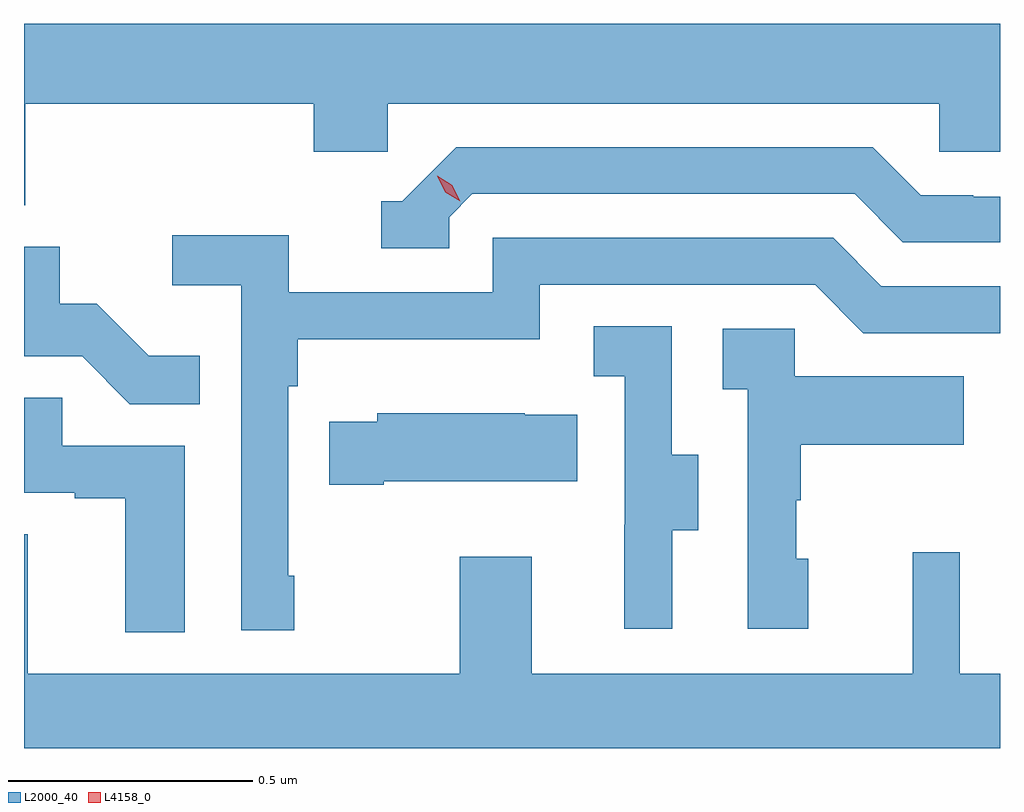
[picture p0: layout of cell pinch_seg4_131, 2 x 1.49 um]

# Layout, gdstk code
import gdstk
lib = gdstk.Library(unit=1e-6, precision=1e-09)
def P(c, l, *ps):  # polygons
    for p in ps: c.add(gdstk.Polygon(p, *l))
L2000_40 = (2000, 40)
L4158_0 = (4158, 0)

pinch_seg4_131 = lib.new_cell('pinch_seg4_131')
P(pinch_seg4_131, L2000_40, [(1046.276,791.492),(1046.867,791.492),(1046.867,791.394),(1047.018,791.394),(1047.018,791.492),(1048.149,791.492),(1048.149,791.394),(1048.273,791.394),(1048.273,791.656),(1046.273,791.656),(1046.273,791.284),(1046.276,791.284)],
  [(1047.144,791.259),(1047.192,791.307),(1047.975,791.307),(1048.074,791.208),(1048.273,791.208),(1048.273,791.301),(1048.218,791.301),(1048.218,791.304),(1048.111,791.304),(1048.012,791.403),(1047.159,791.403),(1047.048,791.292),(1047.005,791.292),(1047.005,791.196),(1047.144,791.196)],
  [(1046.827,790.525),(1046.814,790.525),(1046.814,790.913),(1046.834,790.913),(1046.834,791.009),(1047.33,791.009),(1047.33,791.121),(1047.894,791.121),(1047.993,791.022),(1048.273,791.022),(1048.273,791.118),(1048.03,791.118),(1047.931,791.217),(1047.234,791.217),(1047.234,791.106),(1046.816,791.106),(1046.816,791.222),(1046.577,791.222),(1046.577,791.12),(1046.718,791.12),(1046.718,790.413),(1046.827,790.413)],
  [(1046.633,790.975),(1046.529,790.975),(1046.422,791.082),(1046.346,791.082),(1046.346,791.199),(1046.273,791.199),(1046.273,790.974),(1046.392,790.974),(1046.49,790.876),(1046.633,790.876)],
  [(1047.601,790.618),(1047.655,790.618),(1047.655,790.773),(1047.6,790.773),(1047.6,791.036),(1047.441,791.036),(1047.441,790.933),(1047.504,790.933),(1047.504,790.629),(1047.503,790.629),(1047.503,790.416),(1047.601,790.416)],
  [(1047.88,790.56),(1047.855,790.56),(1047.855,790.679),(1047.865,790.679),(1047.865,790.793),(1048.199,790.793),(1048.199,790.933),(1047.852,790.933),(1047.852,791.031),(1047.705,791.031),(1047.705,790.907),(1047.756,790.907),(1047.756,790.416),(1047.88,790.416)],
  [(1046.602,790.791),(1046.351,790.791),(1046.351,790.889),(1046.273,790.889),(1046.273,790.695),(1046.377,790.695),(1046.377,790.683),(1046.48,790.683),(1046.48,790.409),(1046.602,790.409)],
  [(1047.01,790.718),(1047.407,790.718),(1047.407,790.855),(1047.299,790.855),(1047.299,790.858),(1046.997,790.858),(1046.997,790.84),(1046.899,790.84),(1046.899,790.711),(1047.01,790.711)],
  [(1048.273,790.324),(1048.191,790.324),(1048.191,790.573),(1048.094,790.573),(1048.094,790.324),(1047.313,790.324),(1047.313,790.564),(1047.166,790.564),(1047.166,790.324),(1046.281,790.324),(1046.281,790.61),(1046.273,790.61),(1046.273,790.171),(1048.273,790.171)])
P(pinch_seg4_131, L4158_0, [(1047.167,791.292),(1047.136,791.311),(1047.12,791.344),(1047.12,791.344),(1047.12,791.344),(1047.151,791.325),(1047.167,791.292),(1047.167,791.292)])

lib.write_gds('pinch_seg4_131.gds')
